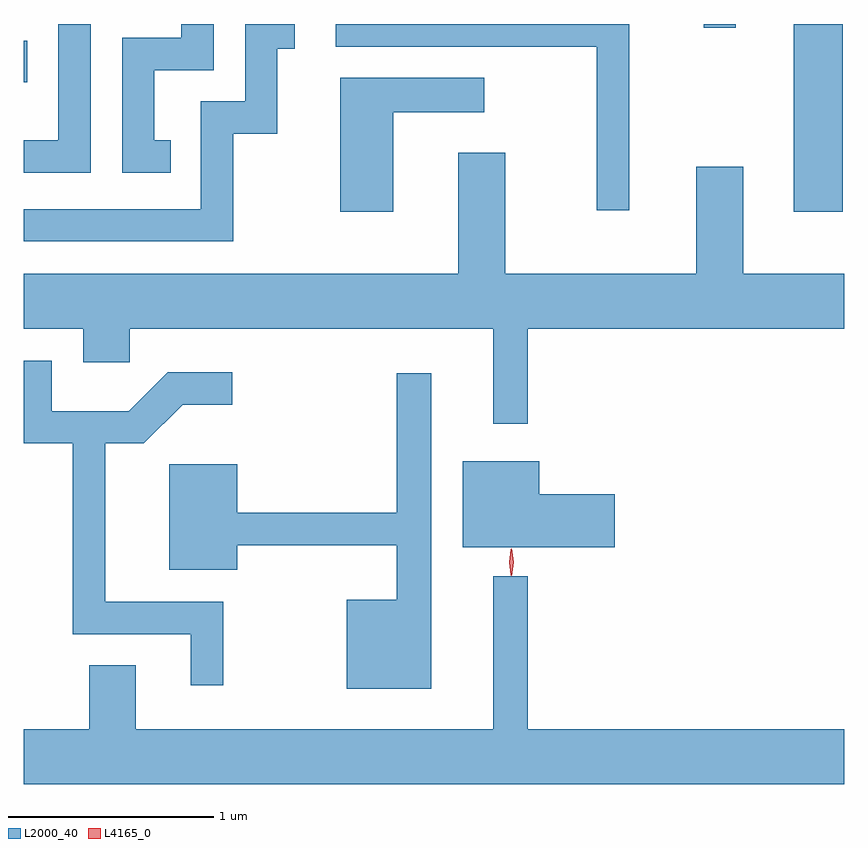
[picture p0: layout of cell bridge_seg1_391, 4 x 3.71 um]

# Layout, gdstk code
import gdstk
lib = gdstk.Library(unit=1e-6, precision=1e-09)
def R(c, l, rs):  # rectangles x0, y0, x1, y1
    for r in rs: c.add(gdstk.rectangle(r[:2], r[2:], *l))
def P(c, l, *ps):  # polygons
    for p in ps: c.add(gdstk.Polygon(p, *l))
L2000_40 = (2000, 40)
L4165_0 = (4165, 0)

bridge_seg1_391 = lib.new_cell('bridge_seg1_391')
R(bridge_seg1_391, L2000_40, [(442.436,966.746,442.674,967.661), (438.682,967.376,438.699,967.579), (441.996,967.643,442.154,967.661)])
P(bridge_seg1_391, L2000_40, [(439.704,967.126),(439.919,967.126),(439.919,967.541),(440.003,967.541),(440.003,967.661),(439.761,967.661),(439.761,967.284),(439.546,967.284),(439.546,966.759),(438.682,966.759),(438.682,966.601),(439.704,966.601)],
  [(441.634,967.661),(440.203,967.661),(440.203,967.551),(441.476,967.551),(441.476,966.753),(441.634,966.753)],
  [(439.398,967.094),(439.319,967.094),(439.319,967.436),(439.609,967.436),(439.609,967.661),(439.451,967.661),(439.451,967.594),(439.161,967.594),(439.161,966.936),(439.398,966.936)],
  [(439.009,967.661),(438.851,967.661),(438.851,967.094),(438.682,967.094),(438.682,966.936),(439.009,966.936)],
  [(440.484,967.231),(440.928,967.231),(440.928,967.399),(440.226,967.399),(440.226,966.746),(440.484,966.746)],
  [(441.139,966.176),(442.682,966.176),(442.682,966.444),(442.189,966.444),(442.189,966.964),(441.961,966.964),(441.961,966.444),(441.029,966.444),(441.029,967.034),(440.801,967.034),(440.801,966.444),(438.682,966.444),(438.682,966.176),(438.971,966.176),(438.971,966.011),(439.199,966.011),(439.199,966.176),(440.971,966.176),(440.971,965.713),(441.139,965.713)],
  [(439.654,964.844),(439.079,964.844),(439.079,965.616),(439.267,965.616),(439.457,965.806),(439.698,965.806),(439.698,965.964),(439.384,965.964),(439.194,965.774),(438.819,965.774),(438.819,966.019),(438.682,966.019),(438.682,965.616),(438.921,965.616),(438.921,964.686),(439.496,964.686),(439.496,964.438),(439.654,964.438)],
  [(440.669,965.958),(440.501,965.958),(440.501,965.279),(439.724,965.279),(439.724,965.514),(439.391,965.514),(439.391,965.001),(439.724,965.001),(439.724,965.121),(440.501,965.121),(440.501,964.854),(440.256,964.854),(440.256,964.421),(440.669,964.421)],
  [(441.564,965.369),(441.194,965.369),(441.194,965.529),(440.821,965.529),(440.821,965.111),(441.564,965.111)],
  [(442.682,964.224),(441.139,964.224),(441.139,964.968),(440.971,964.968),(440.971,964.224),(439.229,964.224),(439.229,964.534),(439.001,964.534),(439.001,964.224),(438.682,964.224),(438.682,963.956),(442.682,963.956)])
P(bridge_seg1_391, L4165_0, [(441.06,964.97),(441.06,964.97),(441.051,965.038),(441.061,965.105),(441.062,965.106),(441.062,965.105),(441.071,965.038),(441.061,964.97)],
  [(441.058,964.973),(441.057,964.974),(441.048,965.036),(441.057,965.1),(441.058,965.1),(441.058,965.1),(441.068,965.036),(441.058,964.974)])

lib.write_gds('bridge_seg1_391.gds')
